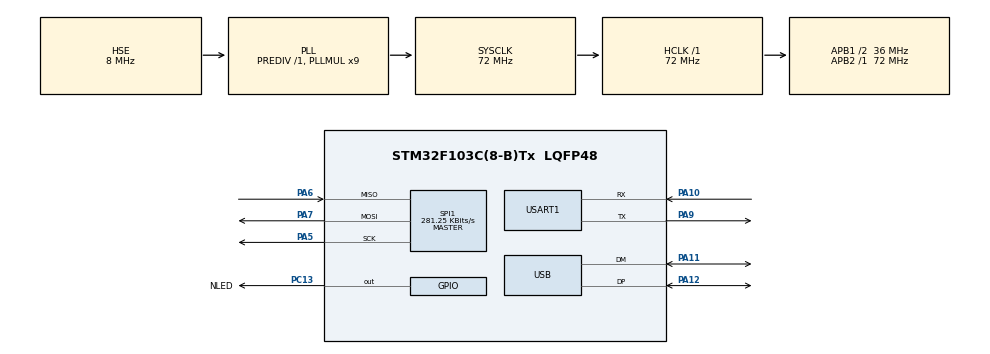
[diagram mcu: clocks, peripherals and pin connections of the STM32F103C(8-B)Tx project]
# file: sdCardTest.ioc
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Dma.Request0=USART1_RX
Dma.Request1=USART1_TX
Dma.Request2=SPI1_RX
Dma.Request3=SPI1_TX
Dma.SPI1_RX.2.Direction=DMA_PERIPH_TO_MEMORY
Dma.SPI1_RX.2.Instance=DMA1_Channel2
Dma.SPI1_RX.2.MemDataAlignment=DMA_MDATAALIGN_BYTE
Dma.SPI1_RX.2.MemInc=DMA_MINC_ENABLE
Dma.SPI1_RX.2.Mode=DMA_CIRCULAR
Dma.SPI1_RX.2.PeriphDataAlignment=DMA_PDATAALIGN_BYTE
Dma.SPI1_RX.2.PeriphInc=DMA_PINC_DISABLE
Dma.SPI1_RX.2.Priority=DMA_PRIORITY_HIGH
Dma.SPI1_TX.3.Direction=DMA_MEMORY_TO_PERIPH
Dma.SPI1_TX.3.Instance=DMA1_Channel3
Dma.SPI1_TX.3.MemDataAlignment=DMA_MDATAALIGN_BYTE
Dma.SPI1_TX.3.MemInc=DMA_MINC_ENABLE
Dma.SPI1_TX.3.Mode=DMA_NORMAL
Dma.SPI1_TX.3.PeriphDataAlignment=DMA_PDATAALIGN_BYTE
Dma.SPI1_TX.3.PeriphInc=DMA_PINC_DISABLE
Dma.SPI1_TX.3.Priority=DMA_PRIORITY_HIGH
Dma.USART1_RX.0.Direction=DMA_PERIPH_TO_MEMORY
Dma.USART1_RX.0.Instance=DMA1_Channel5
Dma.USART1_RX.0.MemDataAlignment=DMA_MDATAALIGN_BYTE
Dma.USART1_RX.0.MemInc=DMA_MINC_ENABLE
Dma.USART1_RX.0.Mode=DMA_CIRCULAR
Dma.USART1_RX.0.PeriphDataAlignment=DMA_PDATAALIGN_BYTE
Dma.USART1_RX.0.PeriphInc=DMA_PINC_DISABLE
Dma.USART1_RX.0.Priority=DMA_PRIORITY_HIGH
Dma.USART1_TX.1.Direction=DMA_MEMORY_TO_PERIPH
Dma.USART1_TX.1.Instance=DMA1_Channel4
Dma.USART1_TX.1.MemDataAlignment=DMA_MDATAALIGN_BYTE
Dma.USART1_TX.1.MemInc=DMA_MINC_ENABLE
Dma.USART1_TX.1.Mode=DMA_NORMAL
Dma.USART1_TX.1.PeriphDataAlignment=DMA_PDATAALIGN_BYTE
Dma.USART1_TX.1.PeriphInc=DMA_PINC_DISABLE
Dma.USART1_TX.1.Priority=DMA_PRIORITY_HIGH
FATFS._FS_LOCK=1
FATFS._USE_FASTSEEK=0
FATFS._USE_FORWARD=0
FATFS._USE_MKFS=0
FATFS._USE_STRFUNC=0
Mcu.Family=STM32F1
Mcu.Name=STM32F103C(8-B)Tx
Mcu.Package=LQFP48
NVIC.DMA1_Channel2_IRQn=true\:0\:0\:false\:false\:true\:false\:true
NVIC.DMA1_Channel3_IRQn=true\:0\:0\:false\:false\:true\:false\:true
NVIC.DMA1_Channel4_IRQn=true\:0\:0\:false\:false\:true\:false\:true
NVIC.DMA1_Channel5_IRQn=true\:0\:0\:false\:false\:true\:false\:true
NVIC.PriorityGroup=NVIC_PRIORITYGROUP_4
NVIC.SPI1_IRQn=true\:0\:0\:false\:false\:true\:true\:true
NVIC.TIM1_UP_IRQn=true\:0\:0\:false\:false\:true\:true\:true
NVIC.USB_LP_CAN1_RX0_IRQn=true\:0\:0\:false\:false\:true\:false\:true
PA10.GPIO_PuPd=GPIO_PULLUP
PA10.Mode=Asynchronous
PA10.Signal=USART1_RX
PA11.Mode=Device
PA11.Signal=USB_DM
PA12.Mode=Device
PA12.Signal=USB_DP
PA13.Mode=Serial_Wire
PA13.Signal=SYS_JTMS-SWDIO
PA14.Mode=Serial_Wire
PA14.Signal=SYS_JTCK-SWCLK
PA5.Mode=Full_Duplex_Master
PA5.Signal=SPI1_SCK
PA6.GPIO_PuPd=GPIO_PULLUP
PA6.Mode=Full_Duplex_Master
PA6.Signal=SPI1_MISO
PA7.Mode=Full_Duplex_Master
PA7.Signal=SPI1_MOSI
PA9.Mode=Asynchronous
PA9.Signal=USART1_TX
PC13-TAMPER-RTC.GPIO_Label=NLED
PC13-TAMPER-RTC.GPIO_Speed=GPIO_SPEED_FREQ_MEDIUM
PC13-TAMPER-RTC.PinState=GPIO_PIN_SET
PC13-TAMPER-RTC.Signal=GPIO_Output
PC14-OSC32_IN.Mode=LSE-External-Oscillator
PC14-OSC32_IN.Signal=RCC_OSC32_IN
PC15-OSC32_OUT.Mode=LSE-External-Oscillator
PC15-OSC32_OUT.Signal=RCC_OSC32_OUT
PD0-OSC_IN.Mode=HSE-External-Oscillator
PD0-OSC_IN.Signal=RCC_OSC_IN
PD1-OSC_OUT.Mode=HSE-External-Oscillator
PD1-OSC_OUT.Signal=RCC_OSC_OUT
ProjectManager.HeapSize=0x200
ProjectManager.StackSize=0x400
ProjectManager.TargetToolchain=Makefile
RCC.ADCPresc=RCC_ADCPCLK2_DIV6
RCC.AHBFreq_Value=72000000
RCC.APB1CLKDivider=RCC_HCLK_DIV2
RCC.APB1Freq_Value=36000000
RCC.APB1TimFreq_Value=72000000
RCC.APB2Freq_Value=72000000
RCC.APB2TimFreq_Value=72000000
RCC.HCLKFreq_Value=72000000
RCC.PLLMUL=RCC_PLL_MUL9
RCC.RCC_MCOSource=RCC_MCO1SOURCE_PLLCLK
RCC.RTCClockSelection=RCC_RTCCLKSOURCE_LSE
RCC.SYSCLKFreq_VALUE=72000000
RCC.SYSCLKSource=RCC_SYSCLKSOURCE_PLLCLK
RCC.USBFreq_Value=48000000
RCC.USBPrescaler=RCC_USBCLKSOURCE_PLL_DIV1_5
RTC.Format=RTC_FORMAT_BIN
SPI1.BaudRatePrescaler=SPI_BAUDRATEPRESCALER_256
SPI1.CLKPhase=SPI_PHASE_2EDGE
SPI1.CLKPolarity=SPI_POLARITY_HIGH
SPI1.CalculateBaudRate=281.25 KBits/s
SPI1.Direction=SPI_DIRECTION_2LINES
SPI1.Mode=SPI_MODE_MASTER
SPI1.VirtualType=VM_MASTER
USART1.VirtualMode=VM_ASYNC
USB_DEVICE.CLASS_NAME_FS=CDC
USB_DEVICE.VirtualMode=Cdc
USB_DEVICE.VirtualModeFS=Cdc_FS
VP_FATFS_VS_Generic.Mode=User_defined
VP_RTC_No_RTC_Output.Mode=RTC_OUT_NO
VP_RTC_VS_RTC_Activate.Mode=RTC_Enabled
VP_RTC_VS_RTC_Calendar.Mode=RTC_Calendar
VP_TIM1_VS_ClockSourceINT.Mode=Internal
VP_USB_DEVICE_VS_USB_DEVICE_CDC_FS.Mode=CDC_FS
board=custom

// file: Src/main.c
/* USER CODE BEGIN Header */
/**
  ******************************************************************************
  * @file           : main.c
  * @brief          : Main program body
  ******************************************************************************
  * @attention
  *
  * <h2><center>&copy; Copyright (c) 2019 STMicroelectronics.
  * All rights reserved.</center></h2>
  *
  * This software component is licensed by ST under Ultimate Liberty license
  * SLA0044, the "License"; You may not use this file except in compliance with
  * the License. You may obtain a copy of the License at:
  *                             www.st.com/SLA0044
  *
  ******************************************************************************
  */
/* USER CODE END Header */

#include "main.h"
#include "dma.h"
#include "fatfs.h"
#include "rtc.h"
#include "spi.h"
#include "tim.h"
#include "usart.h"
#include "usb_device.h"
#include "gpio.h"

/* USER CODE BEGIN Includes */
#include "ff.h"
/* USER CODE END Includes */

void SystemClock_Config(void);

int main(void)
{

	/* MCU Configuration--------------------------------------------------------*/

	/* Reset of all peripherals, Initializes the Flash interface and the Systick. */
	HAL_Init();

	/* Configure the system clock */
	SystemClock_Config();

	/* Initialize all configured peripherals */
	MX_GPIO_Init();
	MX_DMA_Init();
	MX_RTC_Init();
	MX_SPI1_Init();
	MX_TIM1_Init();
	MX_USART1_UART_Init();
	MX_USB_DEVICE_Init();
	MX_FATFS_Init();
	/* USER CODE BEGIN 2 */

	// TIMER1 1 KHz interrupt generation
	HAL_TIM_Base_Start_IT(&htim1);

	/* USER CODE END 2 */

	/* Infinite loop */
	while(1) {

	}
}

void SystemClock_Config(void)
{
	RCC_OscInitTypeDef RCC_OscInitStruct = {0};
	RCC_ClkInitTypeDef RCC_ClkInitStruct = {0};
	RCC_PeriphCLKInitTypeDef PeriphClkInit = {0};

	/** Initializes the CPU, AHB and APB busses clocks
	*/
	RCC_OscInitStruct.OscillatorType = RCC_OSCILLATORTYPE_HSE | RCC_OSCILLATORTYPE_LSE;
	RCC_OscInitStruct.HSEState = RCC_HSE_ON;
	RCC_OscInitStruct.HSEPredivValue = RCC_HSE_PREDIV_DIV1;
	RCC_OscInitStruct.LSEState = RCC_LSE_ON;
	RCC_OscInitStruct.HSIState = RCC_HSI_ON;
	RCC_OscInitStruct.PLL.PLLState = RCC_PLL_ON;
	RCC_OscInitStruct.PLL.PLLSource = RCC_PLLSOURCE_HSE;
	RCC_OscInitStruct.PLL.PLLMUL = RCC_PLL_MUL9;
	if(HAL_RCC_OscConfig(&RCC_OscInitStruct) != HAL_OK) {
		Error_Handler();
	}
	/** Initializes the CPU, AHB and APB busses clocks
	*/
	RCC_ClkInitStruct.ClockType = RCC_CLOCKTYPE_HCLK | RCC_CLOCKTYPE_SYSCLK
			| RCC_CLOCKTYPE_PCLK1 | RCC_CLOCKTYPE_PCLK2;
	RCC_ClkInitStruct.SYSCLKSource = RCC_SYSCLKSOURCE_PLLCLK;
	RCC_ClkInitStruct.AHBCLKDivider = RCC_SYSCLK_DIV1;
	RCC_ClkInitStruct.APB1CLKDivider = RCC_HCLK_DIV2;
	RCC_ClkInitStruct.APB2CLKDivider = RCC_HCLK_DIV1;

	if(HAL_RCC_ClockConfig(&RCC_ClkInitStruct, FLASH_LATENCY_2) != HAL_OK) {
		Error_Handler();
	}
	PeriphClkInit.PeriphClockSelection = RCC_PERIPHCLK_RTC | RCC_PERIPHCLK_USB;
	PeriphClkInit.RTCClockSelection = RCC_RTCCLKSOURCE_LSE;
	PeriphClkInit.UsbClockSelection = RCC_USBCLKSOURCE_PLL_DIV1_5;
	if(HAL_RCCEx_PeriphCLKConfig(&PeriphClkInit) != HAL_OK) {
		Error_Handler();
	}
}

/* USER CODE BEGIN 4 */

void HAL_TIM_PeriodElapsedCallback(TIM_HandleTypeDef *htim)
{
//	disk_timerproc();
}

DWORD get_fattime(void)
{
	RTC_DateTypeDef	rtcDate;
	RTC_TimeTypeDef rtcTime;

	if(HAL_RTC_GetDate(&hrtc, &rtcDate, RTC_FORMAT_BIN) != HAL_OK) {
		return 0;
	}
	if(HAL_RTC_GetTime(&hrtc, &rtcTime, RTC_FORMAT_BIN) != HAL_OK) {
		return 0;
	}

	return ((DWORD)(rtcDate.Year + (2000 - 1980)) << 25)	|
			((DWORD)rtcDate.Month << 21)					|
			((DWORD)rtcDate.Date << 16)						|
			((DWORD)rtcTime.Hours << 11)					|
			((DWORD)rtcTime.Minutes << 5)					|
			((DWORD)rtcTime.Seconds >> 1);
}

/* USER CODE END 4 */

void Error_Handler(void)
{
}

/************************ (C) COPYRIGHT STMicroelectronics *****END OF FILE****/
